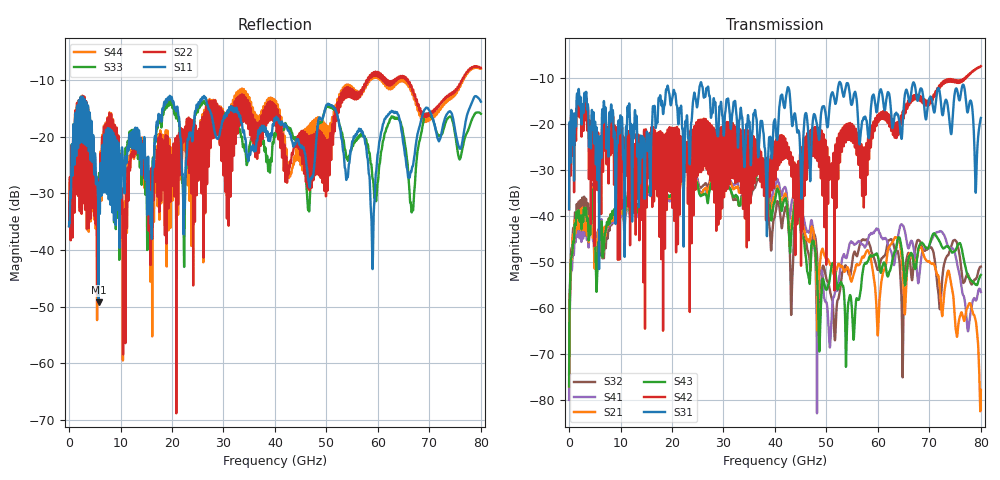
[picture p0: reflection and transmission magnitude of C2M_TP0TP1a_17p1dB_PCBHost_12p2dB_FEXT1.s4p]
!! Reference: shanbhag_3dj_03_2305.pdf
!! CHANNEL DESCRIPTION: TP0_TP1a C2M Channel, PCB Host
!! MODEL DESCRIPTION: s4p, FEXT1
!! CONNECTOR DESCRIPTION: OSFP 200G SMT
!! MODEL STATUS: Developmental
!! PORT DEFINITIONS:
!! Port  1  ----->  Side A  Side B  <-----  Port  2
!! Port  3  ----->  Side A  Side B  <-----  Port  4
# HZ S MA R 50.000000
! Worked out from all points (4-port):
!   8000 points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, 10 MHz to 80 GHz, reference 50 ohm
!   strongest paths, dB at 10 MHz, 20.01 GHz, 40.01 GHz, 60.01 GHz, 80 GHz:
!     S31: -38.6, -14.6, -19.1, -15.7, -18.8
!     S42: -38.6, -27.2, -26.2, -19.4, -7.5
!     S43: -77.1, -35.5, -36.6, -48.9, -52.9
!     S21: -77.1, -36.0, -35.6, -65.6, -77.9
!     S41: -80.0, -36.6, -33.7, -42.9, -56.6
!     S32: -74.6, -34.4, -39.9, -51.8, -51.1
!   lowest |S11| = -49.2 dB at 5.73 GHz (marker M1), VSWR 1.01, Z = 50.3 - j0.138 ohm
!   |S11| at or under -10 dB: start of sweep to end of sweep
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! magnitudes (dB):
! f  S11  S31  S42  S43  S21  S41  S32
! 10 MHz  -35.8  -38.6  -38.6  -77.1  -77.1  -80.0  -74.6
! 1.5 GHz  -16.3  -14.0  -15.4  -39.2  -39.4  -42.5  -37.4
! 5.73 GHz  -49.2  -25.4  -24.7  -46.0  -43.8  -43.6  -46.3
! 37.6 GHz  -18.7  -20.7  -28.5  -30.1  -29.9  -28.9  -32.0
! 50.64 GHz  -14.4  -16.0  -32.1  -53.7  -50.5  -68.6  -56.1
! 58.95 GHz  -43.4  -13.9  -23.0  -48.7  -51.5  -43.7  -48.5
! 80 GHz  -13.9  -18.8  -7.5  -52.9  -77.9  -56.6  -51.1
